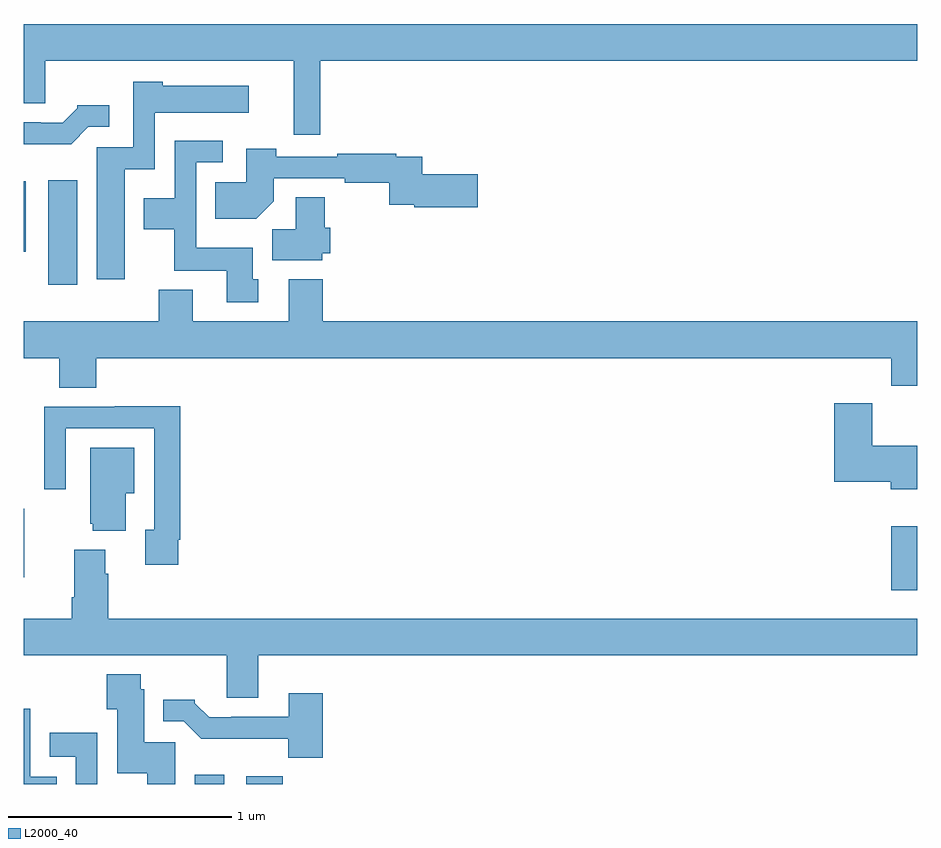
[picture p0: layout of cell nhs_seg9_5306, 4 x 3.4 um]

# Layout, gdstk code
import gdstk
lib = gdstk.Library(unit=1e-6, precision=1e-09)
def R(c, l, rs):  # rectangles x0, y0, x1, y1
    for r in rs: c.add(gdstk.rectangle(r[:2], r[2:], *l))
def P(c, l, *ps):  # polygons
    for p in ps: c.add(gdstk.Polygon(p, *l))
L2000_40 = (2000, 40)

nhs_seg9_5306 = lib.new_cell('nhs_seg9_5306')
R(nhs_seg9_5306, L2000_40, [(419.765,1206.5,419.896,1206.541), (419.996,1206.5,420.158,1206.535), (422.885,1207.368,423,1207.654), (419,1207.427,419.001,1207.733), (419.108,1208.736,419.239,1209.205), (419,1208.885,419.008,1209.199)])
P(nhs_seg9_5306, L2000_40, [(420.326,1209.74),(423,1209.74),(423,1209.904),(419,1209.904),(419,1209.55),(419.095,1209.55),(419.095,1209.74),(420.209,1209.74),(420.209,1209.408),(420.326,1209.408)],
  [(419.452,1209.254),(419.586,1209.254),(419.586,1209.506),(420.007,1209.506),(420.007,1209.628),(419.622,1209.628),(419.622,1209.646),(419.49,1209.646),(419.49,1209.351),(419.327,1209.351),(419.327,1208.76),(419.452,1208.76)],
  [(419.289,1209.444),(419.383,1209.444),(419.383,1209.541),(419.238,1209.541),(419.238,1209.526),(419.174,1209.462),(419.075,1209.462),(419.075,1209.465),(419,1209.465),(419,1209.366),(419.211,1209.366)],
  [(420.049,1208.76),(420.025,1208.76),(420.025,1208.902),(419.772,1208.902),(419.772,1209.285),(419.89,1209.285),(419.89,1209.381),(419.676,1209.381),(419.676,1209.124),(419.537,1209.124),(419.537,1208.984),(419.674,1208.984),(419.674,1208.798),(419.909,1208.798),(419.909,1208.658),(420.049,1208.658)],
  [(420.118,1209.11),(420.118,1209.213),(420.436,1209.213),(420.436,1209.193),(420.637,1209.193),(420.637,1209.095),(420.748,1209.095),(420.748,1209.083),(421.033,1209.083),(421.033,1209.23),(420.785,1209.23),(420.785,1209.309),(420.668,1209.309),(420.668,1209.322),(420.403,1209.322),(420.403,1209.309),(420.131,1209.309),(420.131,1209.346),(419.996,1209.346),(419.996,1209.196),(419.857,1209.196),(419.857,1209.032),(420.04,1209.032)],
  [(420.336,1208.877),(420.371,1208.877),(420.371,1208.991),(420.348,1208.991),(420.348,1209.128),(420.218,1209.128),(420.218,1208.984),(420.113,1208.984),(420.113,1208.846),(420.336,1208.846)],
  [(419.324,1208.408),(422.885,1208.408),(422.885,1208.284),(423,1208.284),(423,1208.572),(420.338,1208.572),(420.338,1208.761),(420.185,1208.761),(420.185,1208.572),(419.755,1208.572),(419.755,1208.713),(419.603,1208.713),(419.603,1208.572),(419,1208.572),(419,1208.408),(419.159,1208.408),(419.159,1208.275),(419.324,1208.275)],
  [(423,1208.014),(422.8,1208.014),(422.8,1208.206),(422.63,1208.206),(422.63,1207.853),(422.882,1207.853),(422.882,1207.82),(423,1207.82)],
  [(419.692,1207.594),(419.699,1207.594),(419.699,1208.192),(419.407,1208.192),(419.407,1208.19),(419.091,1208.19),(419.091,1207.821),(419.187,1207.821),(419.187,1208.094),(419.583,1208.094),(419.583,1207.638),(419.543,1207.638),(419.543,1207.482),(419.692,1207.482)],
  [(419.455,1207.802),(419.494,1207.802),(419.494,1208.005),(419.297,1208.005),(419.297,1207.665),(419.309,1207.665),(419.309,1207.634),(419.455,1207.634)],
  [(420.049,1207.076),(423,1207.076),(423,1207.24),(419.378,1207.24),(419.378,1207.442),(419.365,1207.442),(419.365,1207.549),(419.225,1207.549),(419.225,1207.336),(419.213,1207.336),(419.213,1207.24),(419,1207.24),(419,1207.076),(419.909,1207.076),(419.909,1206.886),(420.049,1206.886)],
  [(419.677,1206.687),(419.539,1206.687),(419.539,1206.924),(419.523,1206.924),(419.523,1206.991),(419.371,1206.991),(419.371,1206.835),(419.417,1206.835),(419.417,1206.548),(419.552,1206.548),(419.552,1206.5),(419.677,1206.5)],
  [(420.338,1206.907),(420.185,1206.907),(420.185,1206.801),(419.929,1206.801),(419.929,1206.798),(419.83,1206.798),(419.766,1206.862),(419.766,1206.877),(419.624,1206.877),(419.624,1206.78),(419.715,1206.78),(419.794,1206.702),(420.183,1206.702),(420.183,1206.617),(420.338,1206.617)],
  [(419.147,1206.532),(419.029,1206.532),(419.029,1206.838),(419,1206.838),(419,1206.5),(419.147,1206.5)],
  [(419.328,1206.73),(419.115,1206.73),(419.115,1206.621),(419.232,1206.621),(419.232,1206.5),(419.328,1206.5)])

lib.write_gds('nhs_seg9_5306.gds')
